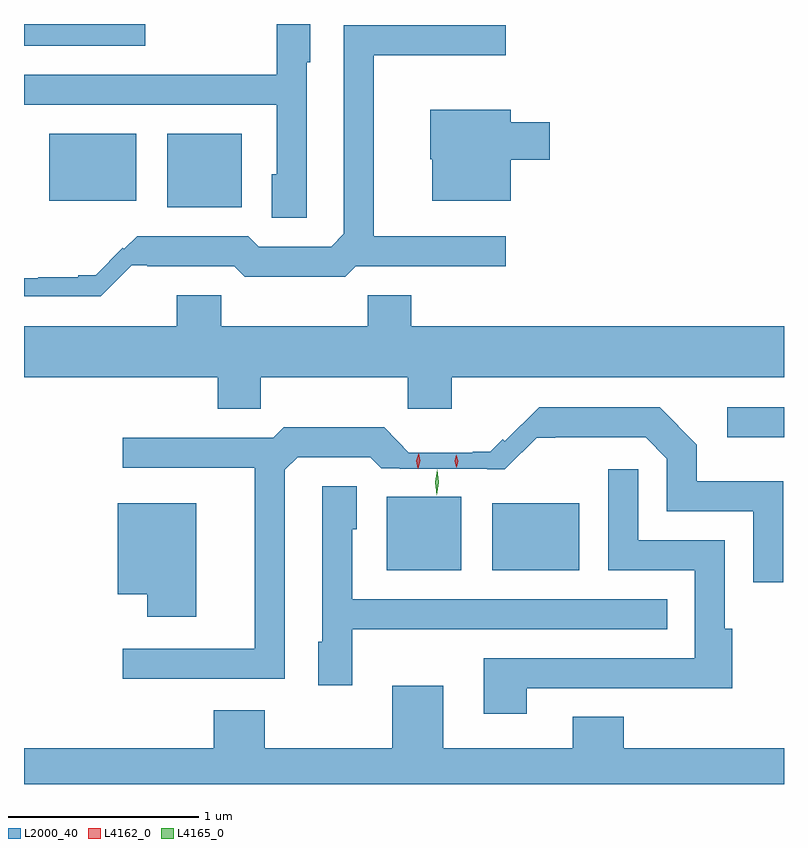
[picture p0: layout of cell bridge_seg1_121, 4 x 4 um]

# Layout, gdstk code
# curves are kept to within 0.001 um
import gdstk
lib = gdstk.Library(unit=1e-6, precision=1e-09)
def R(c, l, rs):  # rectangles x0, y0, x1, y1
    for r in rs: c.add(gdstk.rectangle(r[:2], r[2:], *l))
def P(c, l, *ps):  # polygons
    for p in ps: c.add(gdstk.Polygon(p, *l))
L2000_40 = (2000, 40)
L4162_0 = (4162, 0)
L4165_0 = (4165, 0)

bridge_seg1_121 = lib.new_cell('bridge_seg1_121')
R(bridge_seg1_121, L2000_40, [(1388.121,900.781,1388.514,901.169), (1388.676,900.781,1389.134,901.134), (1389.913,901.481,1390.212,901.639), (1386.966,902.691,1387.359,903.079), (1386.346,902.726,1386.804,903.079), (1386.212,903.541,1386.849,903.656)])
P(bridge_seg1_121, L2000_40, [(1387.699,903.456),(1387.719,903.456),(1387.719,903.656),(1387.541,903.656),(1387.541,903.389),(1386.212,903.389),(1386.212,903.231),(1387.541,903.231),(1387.541,902.864),(1387.516,902.864),(1387.516,902.636),(1387.699,902.636)],
  [(1386.689,902.296),(1386.779,902.385),(1386.86,902.385),(1386.86,902.381),(1387.319,902.381),(1387.374,902.326),(1387.902,902.326),(1387.957,902.381),(1388.748,902.381),(1388.748,902.539),(1388.054,902.539),(1388.054,903.491),(1388.748,903.491),(1388.748,903.649),(1387.896,903.649),(1387.896,902.552),(1387.829,902.484),(1387.447,902.484),(1387.392,902.539),(1386.807,902.539),(1386.74,902.472),(1386.733,902.479),(1386.589,902.334),(1386.497,902.334),(1386.497,902.322),(1386.288,902.322),(1386.288,902.317),(1386.212,902.317),(1386.212,902.222),(1386.615,902.222)],
  [(1388.774,902.941),(1388.979,902.941),(1388.979,903.139),(1388.774,903.139),(1388.774,903.204),(1388.351,903.204),(1388.351,902.945),(1388.361,902.945),(1388.361,902.726),(1388.774,902.726)],
  [(1387.459,901.796),(1388.231,901.796),(1388.231,901.631),(1388.464,901.631),(1388.464,901.796),(1390.212,901.796),(1390.212,902.064),(1388.249,902.064),(1388.249,902.229),(1388.021,902.229),(1388.021,902.064),(1387.249,902.064),(1387.249,902.229),(1387.016,902.229),(1387.016,902.064),(1386.212,902.064),(1386.212,901.796),(1387.231,901.796),(1387.231,901.631),(1387.459,901.631)],
  [(1387.584,901.309),(1387.652,901.376),(1388.034,901.376),(1388.093,901.317),(1388.19,901.317),(1388.19,901.314),(1388.742,901.313),(1388.832,901.402),(1388.834,901.401),(1388.911,901.478),(1389.009,901.478),(1389.009,901.481),(1389.484,901.481),(1389.596,901.369),(1389.596,901.091),(1390.051,901.091),(1390.051,900.718),(1390.209,900.718),(1390.209,901.249),(1389.754,901.249),(1389.754,901.442),(1389.557,901.639),(1388.923,901.639),(1388.743,901.46),(1388.732,901.471),(1388.667,901.406),(1388.575,901.406),(1388.575,901.4),(1388.238,901.4),(1388.178,901.459),(1388.18,901.461),(1388.107,901.534),(1387.579,901.534),(1387.524,901.479),(1386.733,901.479),(1386.733,901.321),(1387.426,901.321),(1387.426,900.369),(1386.733,900.369),(1386.733,900.211),(1387.584,900.211)],
  [(1388.859,900.161),(1389.939,900.161),(1389.939,900.474),(1389.899,900.474),(1389.899,900.939),(1389.444,900.939),(1389.444,901.313),(1389.286,901.313),(1389.286,900.781),(1389.741,900.781),(1389.741,900.319),(1388.631,900.319),(1388.631,900.026),(1388.859,900.026)],
  [(1387.939,900.471),(1389.598,900.471),(1389.598,900.629),(1387.939,900.629),(1387.939,900.996),(1387.964,900.996),(1387.964,901.224),(1387.781,901.224),(1387.781,900.404),(1387.761,900.404),(1387.761,900.176),(1387.939,900.176)],
  [(1387.119,901.134),(1386.706,901.134),(1386.706,900.656),(1386.861,900.656),(1386.861,900.536),(1387.119,900.536)],
  [(1390.212,899.844),(1389.369,899.844),(1389.369,900.009),(1389.101,900.009),(1389.101,899.844),(1388.419,899.844),(1388.419,900.174),(1388.151,900.174),(1388.151,899.844),(1387.479,899.844),(1387.479,900.044),(1387.211,900.044),(1387.211,899.844),(1386.212,899.844),(1386.212,899.656),(1390.212,899.656)])
P(bridge_seg1_121, L4162_0, [(1388.489,901.322),(1388.488,901.323),(1388.478,901.356),(1388.487,901.389),(1388.488,901.39),(1388.488,901.389),(1388.498,901.356),(1388.489,901.323)],
  [(1388.285,901.316),(1388.285,901.317),(1388.277,901.358),(1388.289,901.398),(1388.289,901.398),(1388.29,901.398),(1388.297,901.357),(1388.286,901.317)])
P(bridge_seg1_121, L4165_0, [(1388.384,901.177),(1388.376,901.243),(1388.386,901.309),(1388.386,901.31),(1388.387,901.309),(1388.396,901.243),(1388.385,901.177),(1388.385,901.177)])

lib.write_gds('bridge_seg1_121.gds')
